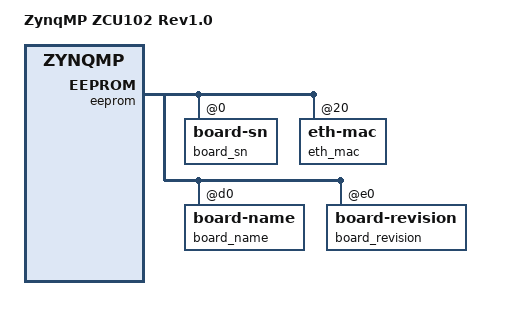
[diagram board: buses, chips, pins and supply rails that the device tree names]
// SPDX-License-Identifier: GPL-2.0+
/*
 * dts file for Xilinx ZynqMP ZCU102 Rev1.0
 *
 * (C) Copyright 2016 - 2018, Xilinx, Inc.
 *
 * Michal Simek <michal.simek@amd.com>
 */

#include "zynqmp-zcu102-revB.dts"

/ {
	model = "ZynqMP ZCU102 Rev1.0";
	compatible = "xlnx,zynqmp-zcu102-rev1.0", "xlnx,zynqmp-zcu102", "xlnx,zynqmp";
};

&eeprom {
	#address-cells = <1>;
	#size-cells = <1>;

	board_sn: board-sn@0 {
		reg = <0x0 0x14>;
	};

	eth_mac: eth-mac@20 {
		reg = <0x20 0x6>;
	};

	board_name: board-name@d0 {
		reg = <0xd0 0x6>;
	};

	board_revision: board-revision@e0 {
		reg = <0xe0 0x3>;
	};
};
